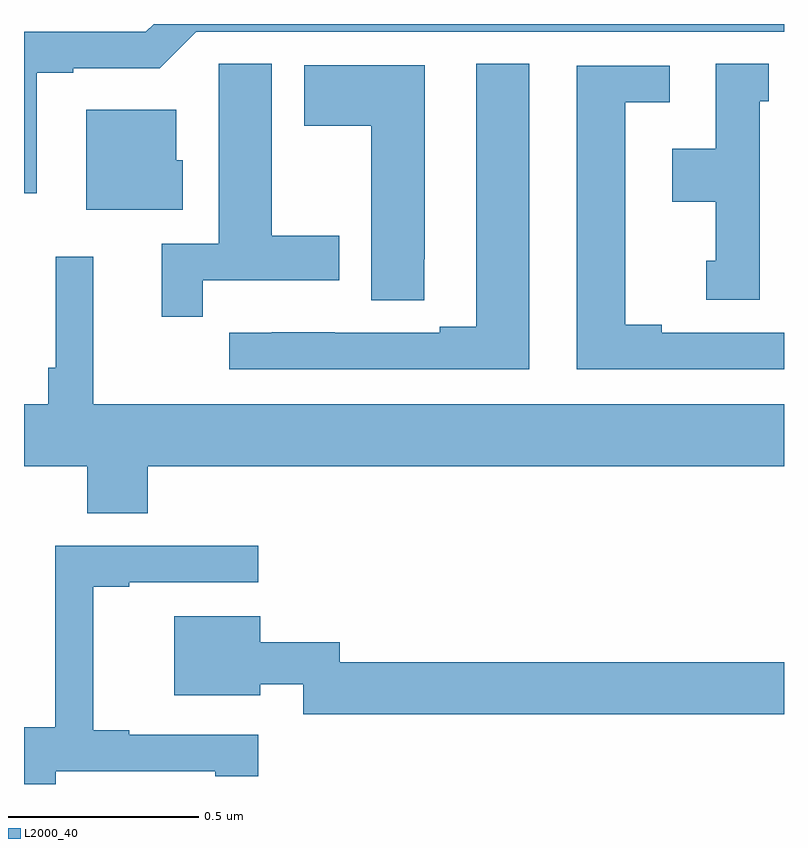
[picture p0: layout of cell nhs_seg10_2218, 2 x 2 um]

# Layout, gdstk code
import gdstk
lib = gdstk.Library(unit=1e-6, precision=1e-09)
def P(c, l, *ps):  # polygons
    for p in ps: c.add(gdstk.Polygon(p, *l))
L2000_40 = (2000, 40)

nhs_seg10_2218 = lib.new_cell('nhs_seg10_2218')
P(nhs_seg10_2218, L2000_40, [(138.034,1281.372),(138.13,1281.372),(138.13,1281.384),(138.357,1281.384),(138.453,1281.48),(140,1281.48),(140,1281.5),(138.341,1281.5),(138.321,1281.48),(138,1281.48),(138,1281.054),(138.034,1281.054)],
  [(139.33,1281.395),(139.19,1281.395),(139.19,1280.703),(139.094,1280.703),(139.094,1280.688),(138.818,1280.688),(138.818,1280.689),(138.652,1280.689),(138.652,1280.688),(138.54,1280.688),(138.54,1280.592),(139.33,1280.592)],
  [(138.47,1280.826),(138.829,1280.826),(138.829,1280.943),(138.652,1280.943),(138.652,1281.395),(138.513,1281.395),(138.513,1281.284),(138.512,1281.284),(138.512,1280.922),(138.362,1280.922),(138.362,1280.73),(138.47,1280.73)],
  [(139.936,1281.297),(139.96,1281.297),(139.96,1281.395),(139.82,1281.395),(139.82,1281.172),(139.706,1281.172),(139.706,1281.032),(139.82,1281.032),(139.82,1280.877),(139.796,1280.877),(139.796,1280.775),(139.936,1280.775)],
  [(139.053,1280.881),(139.054,1280.881),(139.054,1281.391),(138.737,1281.391),(138.737,1281.232),(138.914,1281.232),(138.914,1280.773),(139.053,1280.773)],
  [(140,1280.688),(139.678,1280.688),(139.678,1280.708),(139.582,1280.708),(139.582,1281.294),(139.699,1281.294),(139.699,1281.39),(139.454,1281.39),(139.454,1280.592),(140,1280.592)],
  [(138.418,1281.141),(138.4,1281.141),(138.4,1281.274),(138.164,1281.274),(138.164,1281.011),(138.418,1281.011)],
  [(138.326,1280.336),(140,1280.336),(140,1280.5),(138.182,1280.5),(138.182,1280.887),(138.084,1280.887),(138.084,1280.596),(138.064,1280.596),(138.064,1280.5),(138,1280.5),(138,1280.336),(138.166,1280.336),(138.166,1280.212),(138.326,1280.212)],
  [(138.084,1279.533),(138.503,1279.533),(138.503,1279.521),(138.616,1279.521),(138.616,1279.629),(138.277,1279.629),(138.277,1279.642),(138.182,1279.642),(138.182,1280.019),(138.277,1280.019),(138.277,1280.031),(138.616,1280.031),(138.616,1280.127),(138.082,1280.127),(138.082,1279.649),(138,1279.649),(138,1279.5),(138.084,1279.5)],
  [(140,1279.82),(138.831,1279.82),(138.831,1279.873),(138.622,1279.873),(138.622,1279.942),(138.395,1279.942),(138.395,1279.733),(138.622,1279.733),(138.622,1279.763),(138.735,1279.763),(138.735,1279.684),(140,1279.684)])

lib.write_gds('nhs_seg10_2218.gds')
